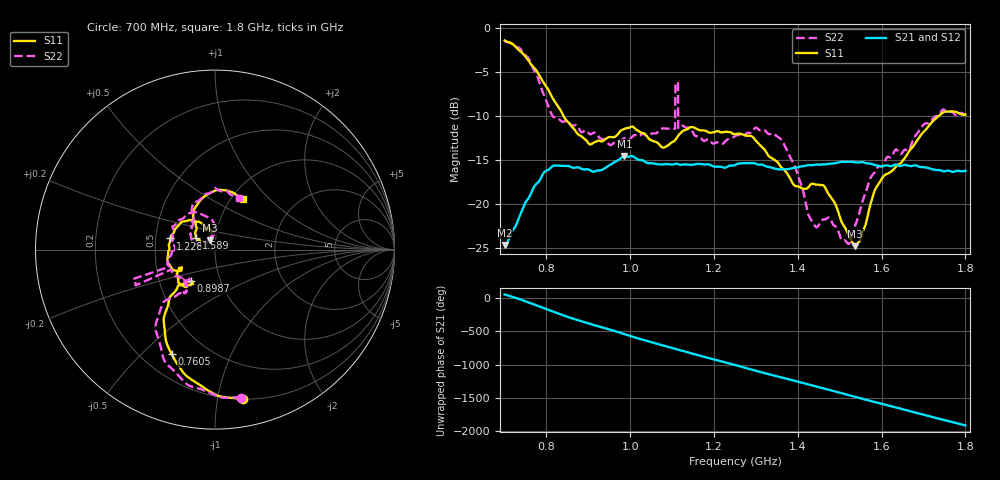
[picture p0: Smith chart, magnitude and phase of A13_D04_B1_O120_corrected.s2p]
! Created with skrf 1.9.0 (http://scikit-rf.org).
# Hz S RI R 50.0
!freq ReS11 ImS11 ReS21 ImS21 ReS12 ImS12 ReS22 ImS22
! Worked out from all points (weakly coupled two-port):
!   1601 points, 700 MHz to 1.8 GHz, reference 50 ohm
!   highest |S21| = -14.57 dB at 986 MHz (marker M1); lowest = -24.7 dB at 700.7 MHz (marker M2)
!   lowest |S11| = -24.8 dB at 1.537 GHz (marker M3), VSWR 1.12, Z = 47.2 + j4.84 ohm
!   |S11| at or under -10 dB: 840.4 MHz to 1.737 GHz (896.3 MHz wide, 69.6 % of centre)
!   |S22| runs from -24.6 to -1.5 dB; largest |S21 - S12| = 0.0034
!   S11 on the Smith chart (normalised r, x): 700 MHz: 0.20, -1.19; 760.5 MHz: 0.32, -0.62; 898.7 MHz: 0.72, -0.27; 1.228 GHz: 0.60, +0.08; 1.589 GHz: 0.80, +0.11; 1.8 GHz: 1.13, +0.71
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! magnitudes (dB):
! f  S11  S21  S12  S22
! 700 MHz  -1.4  -24.6  -24.4  -1.5
! 700.7 MHz  -1.5  -24.7  -24.4  -1.5
! 760.5 MHz  -4.0  -19.1  -18.9  -3.8
! 814.1 MHz  -7.9  -15.7  -15.8  -10.0
! 883.6 MHz  -12.3  -16.0  -15.9  -11.9
! 898.7 MHz  -13.0  -16.1  -16.1  -11.9
! 986 MHz  -11.5  -14.6  -14.7  -12.5
! 1.067 GHz  -13.2  -15.5  -15.5  -11.8
! 1.101 GHz  -13.0  -15.5  -15.5  -11.4
! 1.113 GHz  -12.3  -15.5  -15.5  -6.3
! 1.12 GHz  -11.9  -15.6  -15.5  -11.1
! 1.228 GHz  -11.8  -15.9  -15.8  -12.8
! 1.25 GHz  -12.1  -15.6  -15.5  -12.3
! 1.359 GHz  -15.8  -16.1  -16.1  -12.7
! 1.434 GHz  -17.7  -15.6  -15.6  -22.0
! 1.464 GHz  -18.1  -15.5  -15.5  -21.8
! 1.52 GHz  -23.4  -15.2  -15.2  -24.5
! 1.537 GHz  -24.8  -15.3  -15.3  -22.5
! 1.589 GHz  -18.0  -15.6  -15.6  -15.9
! 1.617 GHz  -16.5  -15.7  -15.6  -14.7
! 1.742 GHz  -9.8  -16.2  -16.2  -9.5
! 1.8 GHz  -9.9  -16.3  -16.3  -9.9
